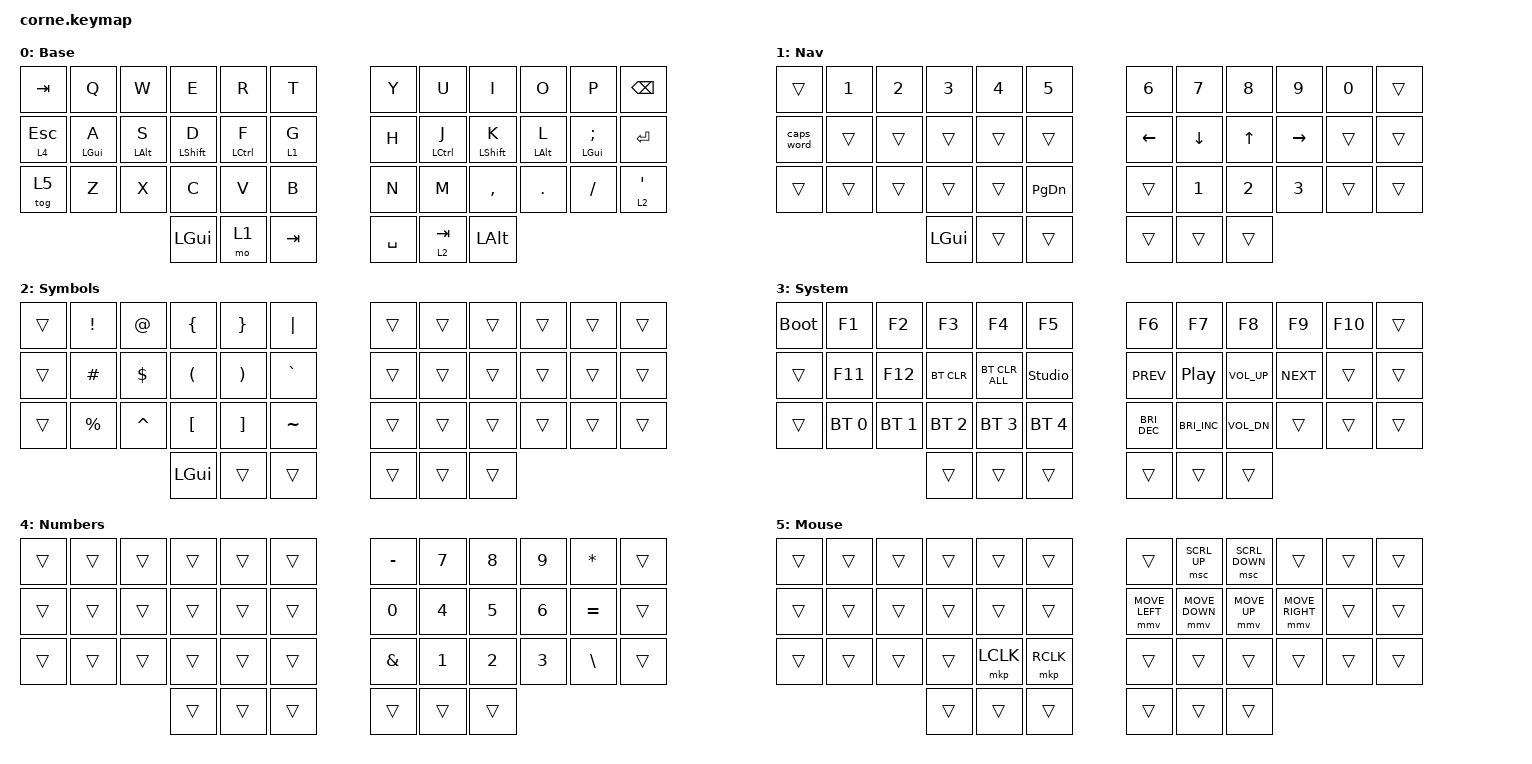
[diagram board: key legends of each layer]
#include <behaviors.dtsi>
#include <dt-bindings/zmk/bt.h>
#include <dt-bindings/zmk/keys.h>
#include <dt-bindings/zmk/pointing.h>

#define DEF 0
#define NAV 1
#define SYM 2
#define ADJ 3
#define EXTRA 4

/ {
    behaviors {
        hm: homerow_mods {
            compatible = "zmk,behavior-hold-tap";
            label = "HOMEROW_MODS";
            #binding-cells = <2>;
            tapping-term-ms = <200>;
            quick_tap_ms = <0>;
            flavor = "tap-preferred";
            bindings = <&kp>, <&kp>;

            quick-tap-ms = <0>;
            global-quick-tap;
        };

        para: para {
            compatible = "zmk,behavior-tap-dance";
            label = "PARA";
            #binding-cells = <0>;
            bindings = <&kp LEFT_PARENTHESIS>, <&kp RIGHT_PARENTHESIS>;
        };

        caps: caps {
            compatible = "zmk,behavior-caps-word";
            label = "CAPS";
            #binding-cells = <0>;
            continue-list = <MINUS BACKSPACE>;
        };

        paraless: paraless {
            compatible = "zmk,behavior-mod-morph";
            label = "PARALESS";
            bindings = <&kp LEFT_PARENTHESIS>, <&kp LESS_THAN>;

            #binding-cells = <0>;
            mods = <(MOD_LSFT)>;
        };

        paragreat: paragreat {
            compatible = "zmk,behavior-mod-morph";
            label = "PARAGREAT";
            bindings = <&kp RIGHT_PARENTHESIS>, <&kp GREATER_THAN>;

            #binding-cells = <0>;
            mods = <(MOD_LSFT)>;
        };
    };

    macros {
        browsertab: browsertab {
            compatible = "zmk,behavior-macro";
            #binding-cells = <0>;
            bindings =
                <&macro_press>,
                <&kp LCTRL>,
                <&macro_tap>,
                <&kp TAB>,
                <&macro_release>,
                <&kp LCTRL>;
        };
    };

    combos {
        compatible = "zmk,combos";

        escape {
            bindings = <&kp ESCAPE>;
            key-positions = <13 29>;
        };

        delete {
            bindings = <&kp DELETE>;
            key-positions = <15 21>;
        };

        perc {
            bindings = <&kp PERCENT>;
            key-positions = <5 17>;
        };

        equal {
            bindings = <&kp EQUAL>;
            key-positions = <28 16>;
        };

        dollar {
            bindings = <&kp DOLLAR>;
            key-positions = <4 16>;
        };

        pound {
            bindings = <&kp POUND>;
            key-positions = <3 15>;
        };

        at {
            bindings = <&kp AT>;
            key-positions = <2 14>;
        };

        backslash {
            bindings = <&kp BACKSLASH>;
            key-positions = <26 14>;
        };

        copy {
            bindings = <&kp K_COPY>;
            key-positions = <28 27>;
        };

        paste {
            bindings = <&kp K_PASTE>;
            key-positions = <26 27>;
        };

        star {
            bindings = <&kp STAR>;
            key-positions = <8 20>;
        };

        slash {
            bindings = <&kp SLASH>;
            key-positions = <32 20>;
        };

        plus {
            bindings = <&kp PLUS>;
            key-positions = <7 19>;
        };

        minus {
            bindings = <&kp KP_MINUS>;
            key-positions = <31 19>;
        };

        underscore {
            bindings = <&kp UNDER>;
            key-positions = <30 18>;
        };

        leftbrack {
            bindings = <&kp LEFT_BRACKET>;
            key-positions = <31 32>;
        };

        rightbrack {
            bindings = <&kp RIGHT_BRACKET>;
            key-positions = <33 32>;
        };

        para-less {
            bindings = <&paraless>;
            key-positions = <20 19>;
        };

        para-great {
            bindings = <&paragreat>;
            key-positions = <20 21>;
        };
    };

    //

    keymap {
        compatible = "zmk,keymap";

        DEF {
            display-name = "Base";

            // -----------------------------------------------------------------------------------------
            // |  Q  |  W  |  E  |  R  |  T  |   |  Y  |  U   |  I  |  O  |  P  |
            // |  A  |  S  |  D  |  F  |  G  |   |  H  |  J   |  K  |  L  |  ;  |
            // |  Z  |  X  |  C  |  V  |  B  |   |  N  |  M   |  ,  |  .  |  /  |
            // | GUI | CTRL | SHFT | LWR | SPC |   | ENT | RSE  | BKSP | ALT | ESC |

            bindings = <
&kp TAB       &kp Q       &kp W           &kp E             &kp R               &kp T      &kp Y      &kp U               &kp I             &kp O           &kp P              &kp BACKSPACE
&lt 4 ESCAPE  &hm LGUI A  &hm LEFT_ALT S  &hm LEFT_SHIFT D  &hm LEFT_CONTROL F  &lt 1 G    &kp H      &hm LEFT_CONTROL J  &hm LEFT_SHIFT K  &hm LEFT_ALT L  &hm LEFT_GUI SEMI  &kp RETURN
&tog 5        &kp Z       &kp X           &kp C             &kp V               &kp B      &kp N      &kp M               &kp COMMA         &kp DOT         &kp FSLH           &lt 2 APOS
                                          &kp LGUI          &mo 1               &kp TAB    &kp SPACE  &lt 2 TAB           &kp LEFT_ALT
            >;
        };

        NAV {
            display-name = "Nav";

            // -----------------------------------------------------------------------------------------
            // |  TAB |  1  |  2  |  3  |  4  |  5  |   |  6  |  7  |  8  |  9  |  0  | BKSP |
            // | BTCLR| BT1 | BT2 | BT3 | BT4 | BT5 |   | LFT | DWN |  UP | RGT |     |      |
            // | SHFT |     |     |     |     |     |   |     |     |     |     |     |      |
            // | GUI | CTRL | SHFT | LWR | SPC |   | ENT | RSE  | BKSP | ALT | ESC |

            bindings = <
&trans      &kp N1  &kp N2  &kp N3    &kp N4  &kp N5           &kp N6    &kp N7    &kp N8  &kp N9     &kp N0  &trans
&caps_word  &trans  &trans  &trans    &trans  &trans           &kp LEFT  &kp DOWN  &kp UP  &kp RIGHT  &trans  &trans
&trans      &trans  &trans  &trans    &trans  &kp PAGE_DOWN    &trans    &kp N1    &kp N2  &kp N3     &trans  &trans
                            &kp LGUI  &trans  &trans           &trans    &trans    &trans
            >;
        };

        SYM {
            display-name = "Symbols";

            // -----------------------------------------------------------------------------------------
            // |  TAB |  !  |  @  |  #  |  $  |  %  |   |  ^  |  &  |  *  |  (  |  )  | BKSP |
            // | CTRL |     |     |     |     |     |   |  -  |  =  |  [  |  ]  |  \  |  `   |
            // | SHFT |     |     |     |     |     |   |  _  |  +  |  {  |  }  | "|" |  ~   |
            //                    | GUI |     | SPC |   | ENT |     | ALT |

            bindings = <
&trans  &kp EXCL     &kp AT      &kp LBRC              &kp RBRC               &kp PIPE     &trans  &trans  &trans  &trans  &trans  &trans
&trans  &kp HASH     &kp DOLLAR  &kp LEFT_PARENTHESIS  &kp RIGHT_PARENTHESIS  &kp GRAVE    &trans  &trans  &trans  &trans  &trans  &trans
&trans  &kp PERCENT  &kp CARET   &kp LEFT_BRACKET      &kp RIGHT_BRACKET      &kp TILDE    &trans  &trans  &trans  &trans  &trans  &trans
                                 &kp LGUI              &trans                 &trans       &trans  &trans  &trans
            >;
        };

        ADJ {
            display-name = "System";
            bindings = <
&bootloader  &kp F1        &kp F2        &kp F3        &kp F4          &kp F5            &kp F6         &kp F7            &kp F8        &kp F9      &kp F10  &trans
&trans       &kp F11       &kp F12       &bt BT_CLR    &bt BT_CLR_ALL  &studio_unlock    &kp C_PREV     &kp C_PLAY_PAUSE  &kp C_VOL_UP  &kp C_NEXT  &trans   &trans
&trans       &bt BT_SEL 0  &bt BT_SEL 1  &bt BT_SEL 2  &bt BT_SEL 3    &bt BT_SEL 4      &kp C_BRI_DEC  &kp C_BRI_INC     &kp C_VOL_DN  &trans      &trans   &trans
                                         &trans        &trans          &trans            &trans         &trans            &trans
            >;
        };

        Numbers {
            display-name = "Numbers";
            bindings = <
&trans  &trans  &trans  &trans  &trans  &trans    &kp MINUS  &kp N7        &kp N8        &kp N9        &kp ASTRK      &trans
&trans  &trans  &trans  &trans  &trans  &trans    &kp N0     &kp NUMBER_4  &kp N5        &kp NUMBER_6  &kp EQUAL      &trans
&trans  &trans  &trans  &trans  &trans  &trans    &kp AMPS   &kp NUMBER_1  &kp NUMBER_2  &kp NUMBER_3  &kp BACKSLASH  &trans
                        &trans  &trans  &trans    &trans     &trans        &trans
            >;
        };

        Mouse {
            bindings = <
&trans  &trans  &trans  &trans  &trans     &trans       &trans          &msc SCRL_UP    &msc SCRL_DOWN  &trans           &trans  &trans
&trans  &trans  &trans  &trans  &trans     &trans       &mmv MOVE_LEFT  &mmv MOVE_DOWN  &mmv MOVE_UP    &mmv MOVE_RIGHT  &trans  &trans
&trans  &trans  &trans  &trans  &mkp LCLK  &mkp RCLK    &trans          &trans          &trans          &trans           &trans  &trans
                        &trans  &trans     &trans       &trans          &trans          &trans
            >;

            label = "Mouse";
        };
    };

    conditional_layers {
        compatible = "zmk,conditional-layers";

        l3 {
            if-layers = <1 2>;
            then-layer = <3>;
        };
    };
};
